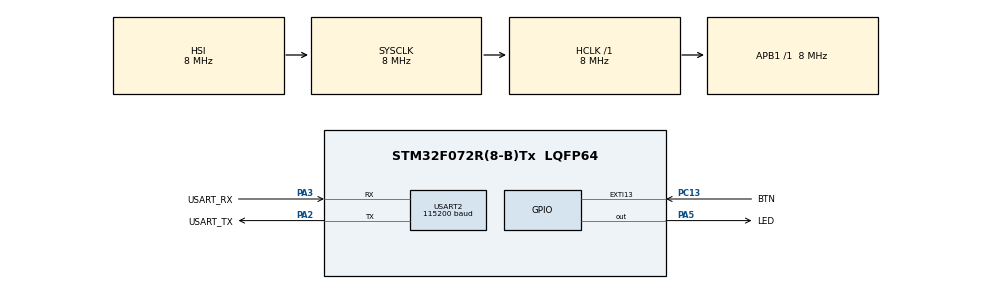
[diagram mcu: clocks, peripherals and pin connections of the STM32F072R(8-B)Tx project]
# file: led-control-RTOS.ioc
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FREERTOS.Queues01=uartQueue,10,char*,0,Static,uartQueueBuffer,uartQueueControlBlock
FREERTOS.Tasks01=defaultTask,24,128,StartDefaultTask,Default,NULL,Static,defaultTaskBuffer,defaultTaskControlBlock;ledTask,24,128,led_task,As external,NULL,Static,ledTaskBuffer,ledTaskControlBlock;uartTask,24,128,uart_task,As external,NULL,Static,uartTaskBuffer,uartTaskControlBlock
FREERTOS.configUSE_NEWLIB_REENTRANT=1
Mcu.Family=STM32F0
Mcu.Name=STM32F072R(8-B)Tx
Mcu.Package=LQFP64
NVIC.EXTI4_15_IRQn=true\:3\:0\:false\:false\:true\:true\:true\:true\:true
NVIC.RTC_IRQn=true\:3\:0\:false\:false\:true\:true\:true\:true\:true
NVIC.TIM17_IRQn=true\:3\:0\:false\:false\:true\:false\:true\:true\:true
NVIC.TimeBase=TIM17_IRQn
NVIC.TimeBaseIP=TIM17
NVIC.USART2_IRQn=true\:3\:0\:false\:false\:true\:true\:true\:true\:true
PA13.GPIO_Label=SWDIO
PA13.Mode=Serial_Wire
PA13.Signal=SYS_SWDIO
PA14.GPIO_Label=SWCLK
PA14.Mode=Serial_Wire
PA14.Signal=SYS_SWCLK
PA2.GPIO_Label=USART_TX
PA2.GPIO_Mode=GPIO_MODE_AF_PP
PA2.GPIO_PuPd=GPIO_NOPULL
PA2.GPIO_Speed=GPIO_SPEED_FREQ_LOW
PA2.Mode=Asynchronous
PA2.Signal=USART2_TX
PA3.GPIO_Label=USART_RX
PA3.GPIO_Mode=GPIO_MODE_AF_PP
PA3.GPIO_PuPd=GPIO_NOPULL
PA3.GPIO_Speed=GPIO_SPEED_FREQ_LOW
PA3.Mode=Asynchronous
PA3.Signal=USART2_RX
PA5.GPIO_Label=LED
PA5.GPIO_Mode=GPIO_MODE_OUTPUT_PP
PA5.GPIO_PuPd=GPIO_NOPULL
PA5.GPIO_Speed=GPIO_SPEED_FREQ_LOW
PA5.Signal=GPIO_Output
PC13.GPIO_Label=BTN
PC13.GPIO_ModeDefaultEXTI=GPIO_MODE_IT_RISING_FALLING
PC13.Signal=GPXTI13
PC14-OSC32_IN.Mode=LSE-External-Oscillator
PC14-OSC32_IN.Signal=RCC_OSC32_IN
PC15-OSC32_OUT.Mode=LSE-External-Oscillator
PC15-OSC32_OUT.Signal=RCC_OSC32_OUT
ProjectManager.HeapSize=0x200
ProjectManager.StackSize=0x400
ProjectManager.TargetToolchain=STM32CubeIDE
RCC.AHBFreq_Value=8000000
RCC.APB1Freq_Value=8000000
RCC.APB1TimFreq_Value=8000000
RCC.FLatency-AdvancedSettings=FLASH_LATENCY_0
RCC.HCLKFreq_Value=8000000
RCC.PLLDivider=RCC_PREDIV_DIV2
RCC.PLLMUL=RCC_PLL_MUL12
RCC.PREFETCH_ENABLE-AdvancedSettings=1
RCC.RTCClockSelection=RCC_RTCCLKSOURCE_LSE
RCC.SYSCLKFreq_VALUE=8000000
RTC.WakeUpClock-WakeUp=RTC_WAKEUPCLOCK_CK_SPRE_16BITS
USART2.BaudRate=115200
USART2.VirtualMode=VM_ASYNC
USART2.VirtualMode-Asynchronous=VM_ASYNC
VP_FREERTOS_VS_CMSIS_V2.Mode=CMSIS_V2
VP_RTC_VS_RTC_Activate.Mode=RTC_Enabled
VP_RTC_VS_RTC_WakeUp_intern.Mode=WakeUp
VP_SYS_VS_tim17.Mode=TIM17
board=NUCLEO-F072RB

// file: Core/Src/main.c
/* USER CODE BEGIN Header */
/**
 ******************************************************************************
 * @file           : main.c
 * @brief          : Main program body
 ******************************************************************************
 * @attention
 *
 * Copyright (c) 2023 STMicroelectronics.
 * All rights reserved.
 *
 * This software is licensed under terms that can be found in the LICENSE file
 * in the root directory of this software component.
 * If no LICENSE file comes with this software, it is provided AS-IS.
 *
 ******************************************************************************
 */
/* USER CODE END Header */
#include "main.h"
#include "cmsis_os.h"
#include "gpio.h"
#include "rtc.h"
#include "usart.h"

/* USER CODE BEGIN Includes */
#include "button.h"

/* USER CODE END Includes */

void SystemClock_Config(void);
void MX_FREERTOS_Init(void);

int main(void)
{

    /* MCU Configuration--------------------------------------------------------*/

    /* Reset of all peripherals, Initializes the Flash interface and the Systick. */
    HAL_Init();

    /* Configure the system clock */
    SystemClock_Config();

    /* Initialize all configured peripherals */
    MX_GPIO_Init();
    MX_RTC_Init();
    MX_USART2_UART_Init();
    /* USER CODE BEGIN 2 */

    infoPrintln("Device started !");

    reset_button_variables();

    /* USER CODE END 2 */

    /* Init scheduler */
    osKernelInitialize(); /* Call init function for freertos objects (in freertos.c) */
    MX_FREERTOS_Init();

    /* Start scheduler */
    osKernelStart();

    /* We should never get here as control is now taken by the scheduler */
    /* Infinite loop */
    while (1) {

    }
}

void SystemClock_Config(void)
{
    RCC_OscInitTypeDef       RCC_OscInitStruct = { 0 };
    RCC_ClkInitTypeDef       RCC_ClkInitStruct = { 0 };
    RCC_PeriphCLKInitTypeDef PeriphClkInit     = { 0 };

    /** Configure LSE Drive Capability
     */
    HAL_PWR_EnableBkUpAccess();
    __HAL_RCC_LSEDRIVE_CONFIG(RCC_LSEDRIVE_HIGH);

    /** Initializes the RCC Oscillators according to the specified parameters
     * in the RCC_OscInitTypeDef structure.
     */
    RCC_OscInitStruct.OscillatorType      = RCC_OSCILLATORTYPE_HSI | RCC_OSCILLATORTYPE_LSE;
    RCC_OscInitStruct.LSEState            = RCC_LSE_ON;
    RCC_OscInitStruct.HSIState            = RCC_HSI_ON;
    RCC_OscInitStruct.HSICalibrationValue = RCC_HSICALIBRATION_DEFAULT;
    RCC_OscInitStruct.PLL.PLLState        = RCC_PLL_NONE;
    if (HAL_RCC_OscConfig(&RCC_OscInitStruct) != HAL_OK) {
        Error_Handler();
    }

    /** Initializes the CPU, AHB and APB buses clocks
     */
    RCC_ClkInitStruct.ClockType = RCC_CLOCKTYPE_HCLK | RCC_CLOCKTYPE_SYSCLK
        | RCC_CLOCKTYPE_PCLK1;
    RCC_ClkInitStruct.SYSCLKSource   = RCC_SYSCLKSOURCE_HSI;
    RCC_ClkInitStruct.AHBCLKDivider  = RCC_SYSCLK_DIV1;
    RCC_ClkInitStruct.APB1CLKDivider = RCC_HCLK_DIV1;

    if (HAL_RCC_ClockConfig(&RCC_ClkInitStruct, FLASH_LATENCY_0) != HAL_OK) {
        Error_Handler();
    }
    PeriphClkInit.PeriphClockSelection = RCC_PERIPHCLK_USART2 | RCC_PERIPHCLK_RTC;
    PeriphClkInit.Usart2ClockSelection = RCC_USART2CLKSOURCE_PCLK1;
    PeriphClkInit.RTCClockSelection    = RCC_RTCCLKSOURCE_LSE;
    if (HAL_RCCEx_PeriphCLKConfig(&PeriphClkInit) != HAL_OK) {
        Error_Handler();
    }
}

void HAL_TIM_PeriodElapsedCallback(TIM_HandleTypeDef *htim)
{
    if (htim->Instance == TIM17) {
        HAL_IncTick();
    }
}

void Error_Handler(void)
{
    __disable_irq();
    while (1) {
    }
}

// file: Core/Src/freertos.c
/* USER CODE BEGIN Header */
/**
 ******************************************************************************
 * File Name          : freertos.c
 * Description        : Code for freertos applications
 ******************************************************************************
 * @attention
 *
 * Copyright (c) 2023 STMicroelectronics.
 * All rights reserved.
 *
 * This software is licensed under terms that can be found in the LICENSE file
 * in the root directory of this software component.
 * If no LICENSE file comes with this software, it is provided AS-IS.
 *
 ******************************************************************************
 */
/* USER CODE END Header */

#include "FreeRTOS.h"
#include "cmsis_os.h"
#include "main.h"
#include "task.h"

/* USER CODE BEGIN Includes */
#include <string.h>

#include "button.h"
#include "gpio.h"
#include "rtc.h"
#include "usart.h"
/* USER CODE END Includes */

typedef StaticTask_t  osStaticThreadDef_t;
typedef StaticQueue_t osStaticMessageQDef_t;

/* USER CODE BEGIN Variables */

static const char big_msg[] = "a191f8d6ea9cadff3ff58a915d6f0318f6caf45e1762fa381\
61c7266ad4ab1b5ddd530a72f3ef17c592805e3ea60aa69ae103a079fa6a9e471d06d5b441bf0f2b\
62f40fd7c6c58e5548e18e0690376b317a143d3795a479c4c2f680a792be26eaa9c7745c52d8ded6\
b3c7a9f0335c7a9e1039b176a15c1805f09fcefcbd94890b985f7ecdbe33b11d564c38cfa35a9f9a\
65cbb1bbc1d1a85a60a035ceb5d7d1c409854692ea30796615d516ee9a9f7c7418b8809d01ae9763\
e992b57884335143e2b65de13e77013479b12d7e150135f7500f86891e31df4e351a5fd60c5a1229\
bae58fa81a82421c54dceaf9cd77297bc76edc6ca4df462e6c26b02b18e4341f96e8cd68df581306\
62c4836c5f6c150ca7c42a539558e080d6efdaf015710d347eb5e14b69c07052f388d398f9bfe02c\
e01075b180d86ac9a5ad47a67f353c40849b88fc842d72508b1eadec6fb40fe184d6af61822d9a4f\
53224c9d99f1b5978b0f502273d0811a0f0468d6ad4c8423cf14218d0b5f3edef6fb48d2b1e86456\
6a728d03d0615a6b86327e6d86ca695c168f932aaf4d925d915a42229a717ca9a372e3e2b45947dd\
402fe7a74a8dda1a7843096f9ea8224cfc0c833238b083abc172379ca508ae8bf759e87e3a487dc3\
61c7266ad4ab1b5ddd530a72f3ef17c592805e3ea60aa69ae103a079fa6a9e471d06d5b441bf0f2b\
62f40fd7c6c58e5548e18e0690376b317a143d3795a479c4c2f680a792be26eaa9c7745c52d8ded6\
b3c7a9f0335c7a9e1039b176a15c1805f09fcefcbd94890b985f7ecdbe33b11d564c38cfa35a9f9a\
65cbb1bbc1d1a85a60a035ceb5d7d1c409854692ea30796615d516ee9a9f7c7418b8809d01ae9763\
bae58fa81a82421c54dceaf9cd77297bc76edc6ca4df462e6c26b02b18e4341f96e8cd68df581306\
62f40fd7c6c58e5548e18e0690376b317a143d3795a479c4c2f680a792be26eaa9c7745c52d8ded6\
b3c7a9f0335c7a9e1039b176a15c1805f09fcefcbd94890b985f7ecdbe33b11d564c38cfa35a9f9a\
65cbb1bbc1d1a85a60a035ceb5d7d1c409854692ea30796615d516ee9a9f7c7418b8809d01ae9763\
e992b57884335143e2b65de13e77013479b12d7e150135f7500f86891e31df4e351a5fd60c5a1229\
bae58fa81a82421c54dceaf9cd77297bc76edc6ca4df462e6c26b02b18e4341f96e8cd68df581306\
62c4836c5f6c150ca7c42a539558e080d6efdaf015710d347eb5e14b69c07052f388d398f9bfe02c\
e01075b180d86ac9a5ad47a67f353c40849b88fc842d72508b1eadec6fb40fe184d6af61822d9a4f\
53224c9d99f1b5978b0f502273d0811a0f0468d6ad4c8423cf14218d0b5f3edef6fb48d2b1e86456\
6a728d03d0615a6b86327e6d86ca695c168f932aaf4d925d915a42229a717ca9a372e3e2b45947dd\
402fe7a74a8dda1a7843096f9ea8224cfc0c833238b083abc172379ca508ae8bf759e87e3a487dc3\
e992b57884335143e2b65de13e77013479b12d7e150135f7500f86891e31df4e351a5fd60c5a1229\
bae58fa81a82421c54dceaf9cd77297bc76edc6ca4df462e6c26b02b18e4341f96e8cd68df581306\
62c4836c5f6c150ca7c42a539558e080d6efdaf015710d347eb5e14b69c07052f388d398f9bfe02c\
e01075b180d86ac9a5ad47a67f353c40849b88fc842d72508b1eadec6fb40fe184d6af61822d9a4f\
53224c9d99f1b5978b0f502273d0811a0f0468d6ad4c8423cf14218d0b5f3edef6fb48d2b1e86456\
6a728d03d0615a6b86327e6d86ca695c168f932aaf4d925d915a42229a717ca9a372e3e2b45947dd\
402fe7a74a8dda1a7843096f9ea8224cfc0c833238b083abc172379ca508ae8bf759e87e3a487dc3\
61c7266ad4ab1b5ddd530a72f3ef17c592805e3ea60aa69ae103a079fa6a9e471d06d5b441bf0f2b\
62f40fd7c6c58e5548e18e0690376b317a143d3795a479c4c2f680a792be26eaa9c7745c52d8ded6\
b3c7a9f0335c7a9e1039b176a15c1805f09fcefcbd94890b985f7ecdbe33b11d564c38cfa35a9f9a\
65cbb1bbc1d1a85a60a035ceb5d7d1c409854692ea30796615d516ee9a9f7c7418b8809d01ae9763\
e992b57884335143e2b65de13e77013479b12d7e150135f7500f86891e31df4e351a5fd60c5a1229\
65cbb1bbc1d1a85a60a035ceb5d7d1c409854692ea30796615d516ee9a9f7c7418b8809d01ae9763\
e992b57884335143e2b65de13e77013479b12d7e150135f7500f86891e31df4e351a5fd60c5a1229\
bae58fa81a82421c54dceaf9cd77297bc76edc6ca4df462e6c26b02b18e4341f96e8cd68df581306\
62c4836c5f6c150ca7c42a539558e080d6efdaf015710d347eb5e14b69c07052f388d398f9bfe02c\
e01075b180d86ac9a5ad47a67f353c40849b88fc842d72508b1eadec6fb40fe184d6af61822d9a4f\
bae58fa81a82421c54dceaf9cd77297bc76edc6ca4df462e6c26b02b18e4341f96e8cd68df581306\
62c4836c5f6c150ca7c42a539558e080d6efdaf015710d347eb5e14b69c07052f388d398f9bfe02c\
e01075b180d86ac9a5ad47a67f353c40849b88fc842d72508b1eadec6fb40fe184d6af61822d9a4f\
53224c9d99f1b5978b0f502273d0811a0f0468d6ad4c8423cf14218d0b5f3edef6fb48d2b1e86456\
6a728d03d0615a6b86327e6d86ca695c168f932aaf4d925d915a42229a717ca9a372e3e2b45947dd\
402fe7a74a8dda1a7843096f9ea8224cfc0c833238b083abc172379ca508ae8bf759e87e3a487dc3\
a915a66fd4e2da9484811bb0c8dcc644bd9acd8a8081d90240aa700a97240033dd0d4f2gz37h6dr4\
rf5r54dceaf9cd77297bc76ed24cfc08fc842d7c83v6gh";

/* USER CODE END Variables */
/* Definitions for defaultTask */
osThreadId_t         defaultTaskHandle;
uint32_t             defaultTaskBuffer[128];
osStaticThreadDef_t  defaultTaskControlBlock;
const osThreadAttr_t defaultTask_attributes = {
    .name       = "defaultTask",
    .cb_mem     = &defaultTaskControlBlock,
    .cb_size    = sizeof(defaultTaskControlBlock),
    .stack_mem  = &defaultTaskBuffer[0],
    .stack_size = sizeof(defaultTaskBuffer),
    .priority   = (osPriority_t)osPriorityNormal,
};
/* Definitions for ledTask */
osThreadId_t         ledTaskHandle;
uint32_t             ledTaskBuffer[128];
osStaticThreadDef_t  ledTaskControlBlock;
const osThreadAttr_t ledTask_attributes = {
    .name       = "ledTask",
    .cb_mem     = &ledTaskControlBlock,
    .cb_size    = sizeof(ledTaskControlBlock),
    .stack_mem  = &ledTaskBuffer[0],
    .stack_size = sizeof(ledTaskBuffer),
    .priority   = (osPriority_t)osPriorityNormal,
};
/* Definitions for uartTask */
osThreadId_t         uartTaskHandle;
uint32_t             uartTaskBuffer[128];
osStaticThreadDef_t  uartTaskControlBlock;
const osThreadAttr_t uartTask_attributes = {
    .name       = "uartTask",
    .cb_mem     = &uartTaskControlBlock,
    .cb_size    = sizeof(uartTaskControlBlock),
    .stack_mem  = &uartTaskBuffer[0],
    .stack_size = sizeof(uartTaskBuffer),
    .priority   = (osPriority_t)osPriorityNormal,
};
/* Definitions for uartQueue */
osMessageQueueId_t         uartQueueHandle;
uint8_t                    uartQueueBuffer[10 * sizeof(char *)];
osStaticMessageQDef_t      uartQueueControlBlock;
const osMessageQueueAttr_t uartQueue_attributes = {
    .name    = "uartQueue",
    .cb_mem  = &uartQueueControlBlock,
    .cb_size = sizeof(uartQueueControlBlock),
    .mq_mem  = &uartQueueBuffer,
    .mq_size = sizeof(uartQueueBuffer)
};

void        StartDefaultTask(void *argument);
extern void led_task(void *argument);
extern void uart_task(void *argument);

void MX_FREERTOS_Init(void); /* (MISRA C 2004 rule 8.1) */

void MX_FREERTOS_Init(void)
{

    /* Create the queue(s) */
    /* creation of uartQueue */
    uartQueueHandle = osMessageQueueNew(10, sizeof(char *), &uartQueue_attributes);

    /* Create the thread(s) */
    /* creation of defaultTask */
    defaultTaskHandle = osThreadNew(StartDefaultTask, NULL, &defaultTask_attributes);

    /* creation of ledTask */
    ledTaskHandle = osThreadNew(led_task, NULL, &ledTask_attributes);

    /* creation of uartTask */
    uartTaskHandle = osThreadNew(uart_task, NULL, &uartTask_attributes);

}

void StartDefaultTask(void *argument)
{
    /* USER CODE BEGIN StartDefaultTask */
    (void)argument;

    button_event_t btn_state;

    /* Infinite loop */
    for (;;) {
        /* Read the btn event */
        btn_state = get_button_state();

        if (btn_state == BTN_CLICK) {
            user_click_event();
        }

        if (btn_state == BTN_DOUBLE_CLICK) {
            /* Send the big frame over UART */
            uart2_print(big_msg, sizeof(big_msg));
        }

        osDelay(1);
    }
    /* USER CODE END StartDefaultTask */
}

/* USER CODE BEGIN Application */

/* Possible states of the device */
typedef enum {
    APP_SHUTDOWN,
    APP_RUNNING,
    APP_STANDBY
} app_state_t;

/* Current state of the device */
static app_state_t _app_state = APP_SHUTDOWN;

/* Process device state change consecutive to button press */
void user_click_event(void)
{
    infoPrintln("User click");

    switch (_app_state) {
    case APP_SHUTDOWN:
        _app_state = APP_RUNNING;
        enter_sequence_running();
        break;
    case APP_RUNNING:
    case APP_STANDBY:
        _app_state = APP_SHUTDOWN;
        stop_sequence();
        break;
    default:
        break;
    }
}

/* Process device state change consecutive to RTC IRQ */
void RTC_wakeup_IRQ(void)
{
    stop_RTC_periodic_wkup();

    switch (_app_state) {
    case APP_RUNNING:
        _app_state = APP_STANDBY;
        enter_sequence_stanby();
        break;
    case APP_STANDBY:
        _app_state = APP_RUNNING;
        enter_sequence_running();
        break;
    case APP_SHUTDOWN:
        /* Should never happen */
        stop_sequence();
        break;
    default:
        break;
    }
}

/* The device starts running for 20s */
void enter_sequence_running(void)
{
    /* TODO: Currently the led toggles every 300ms. (300ms ON - 300ms OFF)
     * We would rather prefer the led to make a short blink every 3s (150ms ON - 2.850s OFF)
     *
     * Send on UART2 the message "Enter running !" */

    infoPrintln("Enter running !");

    start_RTC_periodic_wkup(20);
}

/* The device enters standby for 40s */
void enter_sequence_stanby(void)
{
    /* TODO: Currently the led toggles every 600ms. (600ms ON - 600ms OFF)
     * We would rather prefer the led to make a short blink every 10s (150ms ON - 9.850s OFF)
     *
     * Send on UART2 the message "Enter standby !" */

    infoPrintln("Enter standby !");

    start_RTC_periodic_wkup(40);
}

/* The device cycle stops */
void stop_sequence(void)
{
    /* TODO: We would like a 4 blink scheme as soon as the cycle stops, to inform the user
     * that the app effectively stopped running: (150ms ON - 150ms OFF) x4
     *
     * Send on UART2 the message "Enter shutdown !" */

    infoPrintln("Enter shutdown !");

    stop_RTC_periodic_wkup();
}

void led_task(void *argument)
{
    (void)argument;

    while (1) {
        switch (_app_state) {
        case APP_RUNNING:
            set_LED(1);
            osDelay(150);
            set_LED(0);
            osDelay(2850);
            break;
        case APP_STANDBY:
            set_LED(1);
            osDelay(150);
            set_LED(0);
            osDelay(9850);
            break;
        case APP_SHUTDOWN:
            set_LED(0);
            break;
        default:
            errorPrintln("unknown app state %d", _app_state);
            break;
        }
        osDelay(10);
    }
}

void uart_task(void *argument)
{
    (void)argument;

    const char *msg;

    while (1) {
        osMessageQueueGet(uartQueueHandle, &msg, 0, osWaitForever);

        /* We need to retreive the size of the frame...
         * Beware that strlen usage in embedded systems is strongly discouraged !
         *
         * One better possibility would have been to pass either the pointer
         * to the message and the size of the frame into a single structure.
         *
         * ex: struct message_and_size {
         *     char * msg;
         *     size_t len;
         * }
         *
         * Then update the type of the queue elements to be that struct.
         * */
        size_t len = strlen(msg);

        infoPrintln("UART2 Tx started");

        /* Using blocking transmit is no a problem here. But we could also use a Transmit IT or DMA... */
        int err = HAL_UART_Transmit(&huart2, (uint8_t *)msg, (uint16_t)len, 10 * len);
        if (err != HAL_OK) {
            errorPrintln("HAL Tx error (%d)", err);
        }

        infoPrintln("UART2 Tx complete");

        osDelay(100);
    }
}

/* USER CODE END Application */
